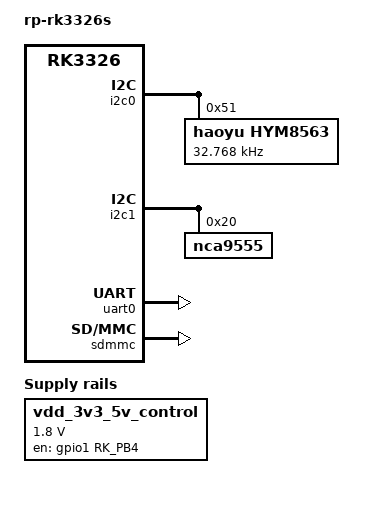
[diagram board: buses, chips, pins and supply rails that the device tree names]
// SPDX-License-Identifier: (GPL-2.0+ OR MIT)
/*
 * Copyright (c) 2017 Fuzhou Rockchip Electronics Co., Ltd
 */

/dts-v1/;
#include <dt-bindings/gpio/nca9555-gpio.h>
#include "../rk3326.dtsi"
#include "../rk3326-linux.dtsi"
#include "rk3326-evb-rpdzkj-rk817.dtsi"
#include "rp-rk3326s-board.dtsi"

/* audio */
#include "rp-audio-rk817.dtsi"

/* usb */
#include "rp-usb-rk3326.dtsi"

/* adc key */
#include "rp-adc-key.dtsi"

/* wifi/bt */
#include "rp-wifi-bt-ap6256-rk3326.dtsi"

/* mipi camera */
#include "rp-mipi-camera-rk3326.dtsi"


/***************** SINGLE LCD ****************/
/* MIPI DSI */
//#include "rp-lcd-mipi-5-720-1280-v2-boxTP.dtsi"
//#include "rp-lcd-mipi-5.5-720-1280-v2.dtsi"
//#include "rp-lcd-mipi-5.5-1080-1920.dtsi"
#include "rp-lcd-mipi-7-1024-600.dtsi"
//#include "rp-lcd-mipi-7-720-1280.dtsi"
//#include "rp-lcd-mipi-7-1200-1920.dtsi"
//#include "rp-lcd-mipi-8-800-1280-v3.dtsi"
//#include "rp-lcd-mipi-8-1200-1920.dtsi"
//#include "rp-lcd-mipi-10-800-1280-v3.dtsi"
//#include "rp-lcd-mipi-10-1200-1920.dtsi"
//#include "rp-lcd-mipi-10-1920-1200.dtsi"

/* LVDS */
//#include "rp-lcd-lvds-7-1024-600.dtsi"
//#include "rp-lcd-lvds-10-1280-800.dtsi"

/* RGB */
//#include "rp-lcd-rgb-7-1024-600.dtsi"

/ {
	model = "rp-rk3326s";
	compatible = "rpdzkj,rp-rk3326s-v10", "rockchip,rk3326";
	
	vdd_3v3_5v_control: vdd_3v3_5v_control {
                compatible = "regulator-fixed";
                regulator-name = "vdd_3v3_5v_control";
        	regulator-always-on;
                regulator-boot-on;
                regulator-min-microvolt = <1800000>;
                regulator-max-microvolt = <1800000>;
                enable-active-high;
		gpio = <&gpio1 RK_PB4 GPIO_ACTIVE_HIGH>;    //In the uboot phase fixed.c resolves gpio
                gpios = <&gpio1 RK_PB4 GPIO_ACTIVE_HIGH>;
		pinctrl-names = "default";
		pinctrl-0 = <&vdd_control>;
        };

	fiq-debugger {
                 compatible = "rockchip,fiq-debugger";
                 rockchip,serial-id = <2>;
                 rockchip,wake-irq = <0>;
                 /* If enable uart uses irq instead of fiq */
                 rockchip,irq-mode-enable = <1>;
                 rockchip,baudrate = <115200>;  /* Only 115200 and 1500000 */
                 interrupts = <GIC_SPI 127 IRQ_TYPE_LEVEL_LOW>;
                 pinctrl-names = "default";
                 pinctrl-0 = <&uart2m1_xfer>;
                 status = "okay";
        };


	rp_power{
                status = "okay";
                compatible = "rp_power";
                rp_not_deep_sleep = <1>;
		pinctrl-names = "default";
		pinctrl-0 = <&led_set>;

        //#define GPIO_FUNCTION_OUTPUT 0
        //#define GPIO_FUNCTION_INPUT 1
        //#define GPIO_FUNCTION_IRQ 2
        //#define GPIO_FUNCTION_FLASH 3
        //#define GPIO_FUNCTION_OUTPUT_CTRL 4

		led {    //system led
                        gpio_num = <&gpio1 RK_PB0 GPIO_ACTIVE_HIGH>;
                        gpio_function = <3>;
                };
		
                usb_otg_switch {
			gpio_num = <&gpio2 RK_PB5 GPIO_ACTIVE_HIGH>;
                        gpio_function = <4>;
                };

                usb_channel_switch {
			gpio_num = <&gpio0 RK_PA1 GPIO_ACTIVE_HIGH>;
                        gpio_function = <4>;
                };

                usb_pwr {   
                        gpio_num = <&nca9555_gpio IO_03 GPIO_ACTIVE_HIGH>;
                        gpio_function = <4>;
                };

		vdd_4g {
                        gpio_num = <&nca9555_gpio IO_01 GPIO_ACTIVE_HIGH>;
                        gpio_function = <4>;
                };


                spk_en {       //spk enable
                        gpio_num = <&nca9555_gpio IO_04 GPIO_ACTIVE_HIGH>;
                        gpio_function = <4>;
                };

		vcc_1v2_camera {
                        gpio_num = <&nca9555_gpio IO_02 GPIO_ACTIVE_HIGH>;
                        gpio_function = <4>;
                };

	};
	
	
	rp_gpio{
                status = "okay";
                compatible = "rp_gpio";

                gpio1b7 {
                        gpio_num = <&gpio1 RK_PB7 GPIO_ACTIVE_HIGH>;
                        gpio_function = <0>;
                };

		nca9555_05 {
                        gpio_num = <&nca9555_gpio IO_05 GPIO_ACTIVE_HIGH>;
                        gpio_function = <0>;
                };

                nca9555_06 {
                        gpio_num = <&nca9555_gpio IO_06 GPIO_ACTIVE_HIGH>;
                        gpio_function = <0>;
                };

                nca9555_07 {
                        gpio_num = <&nca9555_gpio IO_07 GPIO_ACTIVE_HIGH>;
                        gpio_function = <0>;
                };

		nca9555_10 {
                        gpio_num = <&nca9555_gpio IO_10 GPIO_ACTIVE_HIGH>;
                        gpio_function = <0>;
                };

                nca9555_11 {
                        gpio_num = <&nca9555_gpio IO_11 GPIO_ACTIVE_HIGH>;
                        gpio_function = <0>;
                };

                nca9555_12 {
                        gpio_num = <&nca9555_gpio IO_12 GPIO_ACTIVE_HIGH>;
                        gpio_function = <0>;
                };

                nca9555_13 {
                        gpio_num = <&nca9555_gpio IO_13 GPIO_ACTIVE_HIGH>;
                        gpio_function = <0>;
                };

                nca9555_14 {
                        gpio_num = <&nca9555_gpio IO_14 GPIO_ACTIVE_HIGH>;
                        gpio_function = <0>;
                };

                nca9555_15 {
                        gpio_num = <&nca9555_gpio IO_15 GPIO_ACTIVE_HIGH>;
                        gpio_function = <0>;
                };

		nca9555_16 {
                        gpio_num = <&nca9555_gpio IO_16 GPIO_ACTIVE_HIGH>;
                        gpio_function = <0>;
                };

                nca9555_17 {
                        gpio_num = <&nca9555_gpio IO_17 GPIO_ACTIVE_HIGH>;
                        gpio_function = <0>;
                };

        };
};

&i2c0 {
    status = "okay";

    hym8563: hym8563@51 {
        compatible = "haoyu,hym8563";
        reg = <0x51>;
        #clock-cells = <0>;
        clock-frequency = <32768>;
        clock-output-names = "hym8563";
        //pinctrl-names = "default";
        //pinctrl-0 = <&hym8563_int>;
        //interrupt-parent = <&gpio0>;
        //interrupts = <RK_PD4 IRQ_TYPE_LEVEL_LOW>;
        //wakeup-source;
    };

};

&i2c1 {
    status = "okay";
	
	nca9555: mfd-gpio@20 {
                compatible = "nca9555";
                reg = <0x20>;
                status = "okay";

                nca9555_gpio: gpio-normal@20 {
                        compatible = "nca9555-gpio";
                        gpio-controller;
                        #gpio-cells = <2>;
                };
        };

};

&uart0 {
        status = "okay";
	pinctrl-names = "default";
	pinctrl-0 = <&uart0_xfer>;
};

&sdmmc {
	pinctrl-names = "default";
  	pinctrl-0 = <&sdmmc_clk &sdmmc_cmd &sdmmc_det &sdmmc_bus4>;
	status = "okay";
};

&pinctrl {
    rp_power_set {
	led_set: led-set{
		rockchip,pins = <1 RK_PB0 RK_FUNC_GPIO &pcfg_pull_none>;
	};
    };
    power_control{
        vdd_control: vdd_control {
            rockchip,pins = <1 RK_PB4 RK_FUNC_GPIO &pcfg_pull_up>;
        };
    };
};
